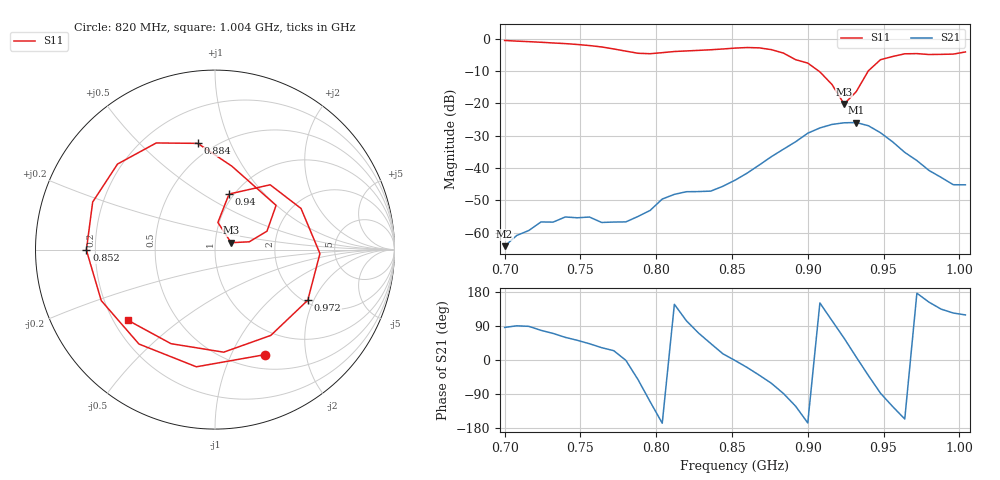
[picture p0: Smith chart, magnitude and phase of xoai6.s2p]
# Hz S RI R 50
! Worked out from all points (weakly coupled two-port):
!   39 points, 700 MHz to 1.004 GHz, reference 50 ohm
!   highest |S21| = -25.93 dB at 932 MHz (marker M1); lowest = -64.2 dB at 700 MHz (marker M2)
!   lowest |S11| = -20.2 dB at 924 MHz (marker M3), VSWR 1.22, Z = 59.7 + j4.64 ohm
!   |S11| at or under -10 dB: 907.3 MHz to 939.9 MHz (32.61 MHz wide, 3.53 % of centre)
!   S12 and S22 are empty: the file has one direction only
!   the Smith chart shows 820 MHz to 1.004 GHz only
!   S11 on the Smith chart (normalised r, x): 820 MHz: 0.67, -1.35; 852 MHz: 0.17, -0.00; 884 MHz: 0.41, +0.76; 940 MHz: 0.95, +0.66; 972 MHz: 2.09, -1.80; 1.004 GHz: 0.26, -0.33
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7e8  0.7622 0.5517  4.41e-05 0.000617  0 0  0 0
7.24e8  0.8471 -0.2456  0.000299 0.00144  0 0  0 0
7.4e8  0.4624 -0.7029  0.00088 0.00151  0 0  0 0
7.56e8  -0.1921 -0.7604  0.00128 0.00119  0 0  0 0
7.72e8  -0.6658 -0.2002  0.00133 0.000609  0 0  0 0
7.8e8  -0.601 0.2284  0.00147 -2.35e-05  0 0  0 0
7.96e8  0.2427 0.5344  -0.000755 -0.00208  0 0  0 0
8.04e8  0.582 0.1799  -0.00323 -0.000754  0 0  0 0
8.2e8  0.2771 -0.5855  -0.000977 0.00419  0 0  0 0
8.36e8  -0.4237 -0.5261  0.00319 0.00303  0 0  0 0
8.52e8  -0.7166 -0.00265  0.00648 -0.000139  0 0  0 0
8.68e8  -0.5431 0.4766  0.00852 -0.00716  0 0  0 0
8.84e8  -0.0962 0.5919  0.000492 -0.0196  0 0  0 0
9e8  0.3404 0.2465  -0.0335 -0.00833  0 0  0 0
9.08e8  0.2897 0.1028  -0.0363 0.0205  0 0  0 0
9.24e8  0.0897 0.0385  0.027 0.0422  0 0  0 0
9.32e8  0.0161 0.1513  0.0501 0.0067  0 0  0 0
9.4e8  0.0785 0.3096  0.0341 -0.0296  0 0  0 0
9.56e8  0.4794 0.229  -0.0138 -0.0214  0 0  0 0
9.72e8  0.5167 -0.2822  -0.013 0.000854  0 0  0 0
9.88e8  0.0483 -0.5715  -0.005 0.00514  0 0  0 0
1.004e9  -0.4851 -0.3937  -0.00267 0.00481  0 0  0 0
